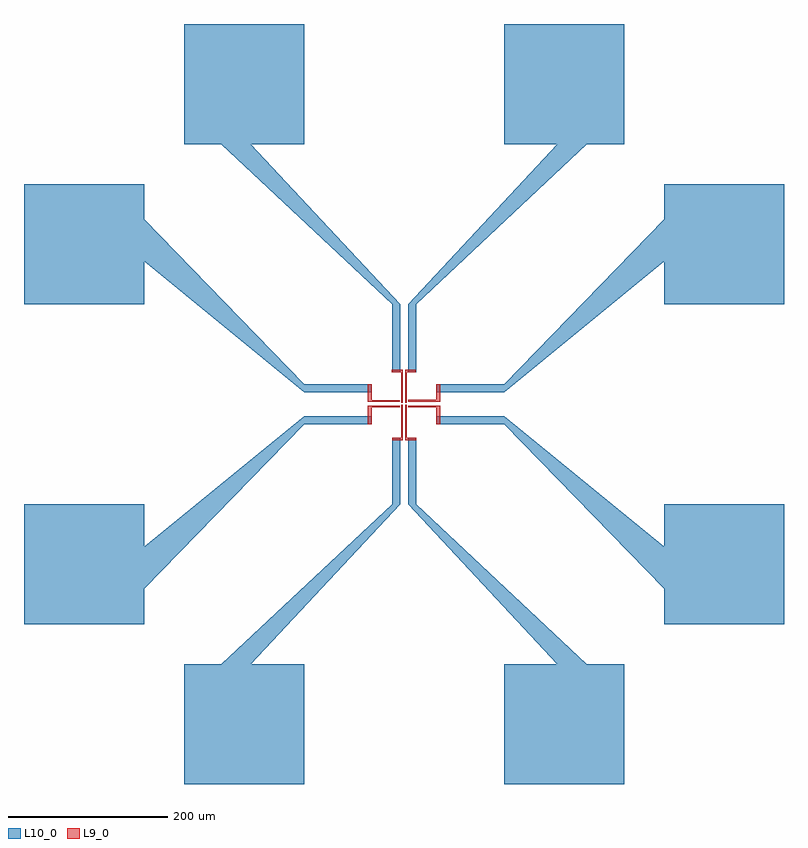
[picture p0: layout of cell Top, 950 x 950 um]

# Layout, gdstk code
import gdstk
lib = gdstk.Library(unit=1e-6, precision=1e-09)
def P(c, l, *ps):  # polygons
    for p in ps: c.add(gdstk.Polygon(p, *l))
L9_0 = (9, 0)
L10_0 = (10, 0)

top = lib.new_cell('Top')
P(top, L9_0, [(54.726,74.964),(54.726,97.925),(54.726,97.925),(54.726,98),(94.749,98),(94.749,96),(59.742,96),(59.742,74.964)],
  [(101.5,54.457),(101.5,54.578),(101.5,54.578),(101.5,98.853),(103.5,98.853),(103.5,58.053),(115.036,58.053),(115.036,54.457)],
  [(54.952,103),(54.952,103.001),(54.702,103.001),(54.702,124.986),(59.735,124.986),(59.735,105),(94.749,105),(94.749,103)],
  [(101.5,101.721),(101.5,142.763),(103.5,142.763),(103.5,142.765),(114.982,142.765),(114.982,139.48),(103.5,139.48),(103.5,101.721)],
  [(85.025,54.585),(85.025,58.053),(96.5,58.053),(96.5,98.853),(98.5,98.853),(98.5,58.053),(98.5,58.053),(98.5,54.585)],
  [(140.582,74.966),(140.582,96.002),(105.47,96.002),(105.47,98.002),(145.493,98.002),(145.493,97.927),(145.493,97.927),(145.493,74.966)],
  [(96.5,101.721),(96.5,139.532),(84.996,139.532),(84.996,142.776),(98.5,142.776),(98.5,142.658),(98.5,142.658),(98.5,101.721)],
  [(105.47,103.002),(105.47,105.002),(140.593,105.002),(140.593,124.791),(145.312,124.791),(145.312,103.002),(145.267,103.002),(145.267,103.002)])
P(top, L10_0, [(85,139.518),(85,225),(-128.718,425),(-175,425),(-175,575),(-25,575),(-25,425),(-91.394,425),(95,225),(95,139.518)],
  [(105,139.518),(105,225),(291.394,425),(225,425),(225,575),(375,575),(375,425),(328.718,425),(115,225),(115,139.518)],
  [(-175,-375),(-175,-225),(-128.718,-225),(85,-25),(85,57.99),(95,57.99),(95,-25),(-91.394,-225),(-25,-225),(-25,-375)],
  [(225,-375),(225,-225),(291.394,-225),(105,-25),(105,57.99),(115,57.99),(115,-25),(328.718,-225),(375,-225),(375,-375)],
  [(-375,-175),(-375,-25),(-225,-25),(-225,-78.179),(-25,85),(59.702,85),(59.702,75),(-25,75),(-225,-130.846),(-225,-175)],
  [(425,-175),(425,-130.846),(225,75),(140.588,75),(140.588,85),(225,85),(425,-78.179),(425,-25),(575,-25),(575,-175)],
  [(-25,115),(-225,278.179),(-225,225),(-375,225),(-375,375),(-225,375),(-225,330.846),(-25,125),(59.702,125),(59.702,115)],
  [(140.588,115),(140.588,125),(225,125),(425,330.846),(425,375),(575,375),(575,225),(425,225),(425,278.179),(225,115)])

lib.write_gds('Top.gds')
